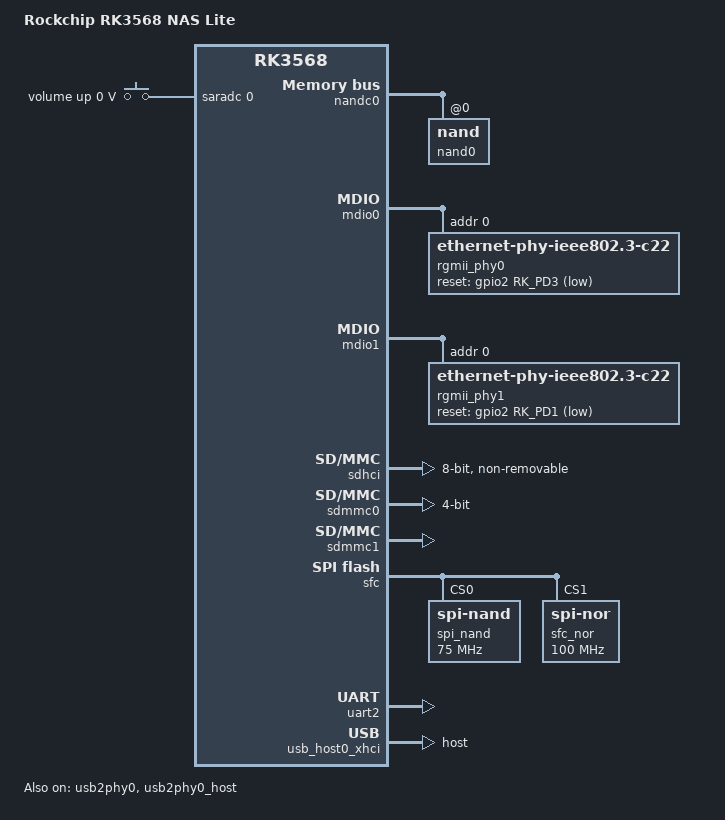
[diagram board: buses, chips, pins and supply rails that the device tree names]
// SPDX-License-Identifier: (GPL-2.0+ OR MIT)
/*
 * Rockchip RK3568 NAS Lite board description.
 *
 * The common SoC description comes from the Linux kernel device-tree
 * sources shipped with U-Boot 2026.07.  U-Boot-only boot-phase annotations
 * are supplied by rk3568-nas-lite-u-boot.dtsi through the automatic dtsi
 * inclusion mechanism.
 */

/dts-v1/;

#include "rk3568.dtsi"
#include <dt-bindings/gpio/gpio.h>
#include <dt-bindings/input/input.h>

/ {
	model = "Rockchip RK3568 NAS Lite";
	compatible = "rockchip,rk3568-nas-lite", "rockchip,rk3568";

	nandc0: nandc@fe330000 {
		compatible = "rockchip,rk-nandc";
		reg = <0x0 0xfe330000 0x0 0x4000>;
		interrupts = <GIC_SPI 70 IRQ_TYPE_LEVEL_HIGH>;
		nandc_id = <0>;
		clocks = <&cru NCLK_NANDC>, <&cru HCLK_NANDC>;
		clock-names = "clk_nandc", "hclk_nandc";
		status = "okay";

		#address-cells = <1>;
		#size-cells = <0>;

		nand0: nand@0 {
			reg = <0>;
			nand-bus-width = <8>;
			nand-ecc-mode = "hw";
			nand-ecc-strength = <16>;
			nand-ecc-step-size = <1024>;
		};
	};

	adc-keys {
		compatible = "adc-keys";
		io-channels = <&saradc 0>;
		io-channel-names = "buttons";
		keyup-threshold-microvolt = <1800000>;
		status = "okay";

		volumeup-key {
			linux,code = <KEY_VOLUMEUP>;
			label = "volume up";
			press-threshold-microvolt = <9>;
		};
	};
};

&gmac0 {
	phy-mode = "rgmii";
	clock_in_out = "output";
	assigned-clocks = <&cru SCLK_GMAC0_RX_TX>, <&cru SCLK_GMAC0>;
	assigned-clock-parents = <&cru SCLK_GMAC0_RGMII_SPEED>;
	assigned-clock-rates = <0>, <125000000>;
	pinctrl-names = "default";
	pinctrl-0 = <&gmac0_miim
		     &gmac0_tx_bus2
		     &gmac0_rx_bus2
		     &gmac0_rgmii_clk
		     &gmac0_rgmii_bus>;
	tx_delay = <0x3c>;
	rx_delay = <0x2f>;
	phy-handle = <&rgmii_phy0>;
	status = "disabled";
};

&gmac1 {
	phy-mode = "rgmii";
	clock_in_out = "output";
	assigned-clocks = <&cru SCLK_GMAC1_RX_TX>, <&cru SCLK_GMAC1>;
	assigned-clock-parents = <&cru SCLK_GMAC1_RGMII_SPEED>;
	assigned-clock-rates = <0>, <125000000>;
	pinctrl-names = "default";
	pinctrl-0 = <&gmac1m1_miim
		     &gmac1m1_tx_bus2
		     &gmac1m1_rx_bus2
		     &gmac1m1_rgmii_clk
		     &gmac1m1_rgmii_bus>;
	tx_delay = <0x4f>;
	rx_delay = <0x26>;
	phy-handle = <&rgmii_phy1>;
	status = "disabled";
};

&mdio0 {
	rgmii_phy0: ethernet-phy@0 {
		compatible = "ethernet-phy-ieee802.3-c22";
		reg = <0>;
		reset-assert-us = <20000>;
		reset-deassert-us = <100000>;
		reset-gpios = <&gpio2 RK_PD3 GPIO_ACTIVE_LOW>;
	};
};

&mdio1 {
	rgmii_phy1: ethernet-phy@0 {
		compatible = "ethernet-phy-ieee802.3-c22";
		reg = <0>;
		reset-assert-us = <20000>;
		reset-deassert-us = <100000>;
		reset-gpios = <&gpio2 RK_PD1 GPIO_ACTIVE_LOW>;
	};
};

&sdhci {
	bus-width = <8>;
	cap-mmc-highspeed;
	mmc-hs200-1_8v;
	non-removable;
	status = "okay";
};

&sdmmc0 {
	bus-width = <4>;
	cap-sd-highspeed;
	disable-wp;
	status = "okay";
};

&sdmmc1 {
	status = "okay";
};

&sfc {
	#address-cells = <1>;
	#size-cells = <0>;
	status = "okay";

	spi_nand: nand@0 {
		compatible = "spi-nand";
		reg = <0>;
		spi-tx-bus-width = <1>;
		spi-rx-bus-width = <4>;
		spi-max-frequency = <75000000>;
	};

	spi_nor: flash@1 {
		compatible = "jedec,spi-nor";
		label = "sfc_nor";
		reg = <1>;
		spi-tx-bus-width = <1>;
		spi-rx-bus-width = <4>;
		spi-max-frequency = <100000000>;
	};
};

&uart2 {
	status = "okay";
};

&usb_host0_xhci {
	dr_mode = "host";
	status = "okay";
};

&usb2phy0 {
	status = "okay";
};

&usb2phy0_host {
	status = "okay";
};
